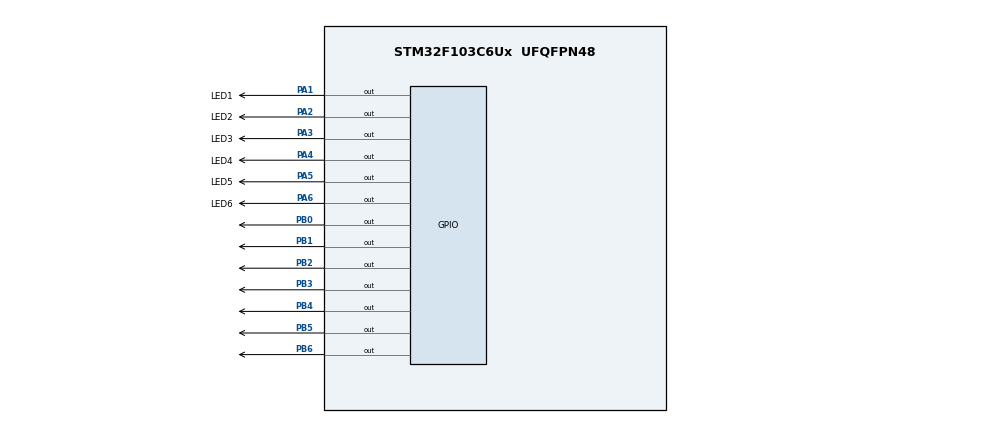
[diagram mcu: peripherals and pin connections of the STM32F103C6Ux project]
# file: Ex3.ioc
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Mcu.Family=STM32F1
Mcu.Name=STM32F103C6Ux
Mcu.Package=UFQFPN48
NVIC.PriorityGroup=NVIC_PRIORITYGROUP_4
PA1.GPIO_Label=LED1
PA1.Signal=GPIO_Output
PA2.GPIO_Label=LED2
PA2.Signal=GPIO_Output
PA3.GPIO_Label=LED3
PA3.Signal=GPIO_Output
PA4.GPIO_Label=LED4
PA4.Signal=GPIO_Output
PA5.GPIO_Label=LED5
PA5.Signal=GPIO_Output
PA6.GPIO_Label=LED6
PA6.Signal=GPIO_Output
PB0.Signal=GPIO_Output
PB1.Signal=GPIO_Output
PB2.Signal=GPIO_Output
PB3.Signal=GPIO_Output
PB4.Signal=GPIO_Output
PB5.Signal=GPIO_Output
PB6.Signal=GPIO_Output
ProjectManager.HeapSize=0x200
ProjectManager.StackSize=0x400
ProjectManager.TargetToolchain=STM32CubeIDE
RCC.APB1Freq_Value=8000000
RCC.APB2Freq_Value=8000000
VP_SYS_VS_ND.Mode=No_Debug
board=custom

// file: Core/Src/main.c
/* USER CODE BEGIN Header */
/**
  ******************************************************************************
  * @file           : main.c
  * @brief          : Main program body
  ******************************************************************************
  * @attention
  *
  * <h2><center>&copy; Copyright (c) 2022 STMicroelectronics.
  * All rights reserved.</center></h2>
  *
  * This software component is licensed by ST under BSD 3-Clause license,
  * the "License"; You may not use this file except in compliance with the
  * License. You may obtain a copy of the License at:
  *                        opensource.org/licenses/BSD-3-Clause
  *
  ******************************************************************************
  */
/* USER CODE END Header */
#include "main.h"

void SystemClock_Config(void);
static void MX_GPIO_Init(void);

/* USER CODE BEGIN 0 */
void display7SEG(int num){
	if(num == 1){
		HAL_GPIO_WritePin(GPIOB, 0x06, GPIO_PIN_RESET);
		HAL_GPIO_WritePin(GPIOB, 0x79, GPIO_PIN_SET);
	}
	else if(num == 2){
		HAL_GPIO_WritePin(GPIOB, 0x5B, GPIO_PIN_RESET);
		HAL_GPIO_WritePin(GPIOB, 0x24, GPIO_PIN_SET);
	}
	else if(num == 3){
		HAL_GPIO_WritePin(GPIOB, 0x4F, GPIO_PIN_RESET);
		HAL_GPIO_WritePin(GPIOB, 0x30, GPIO_PIN_SET);
	}
	else if(num == 4){
		HAL_GPIO_WritePin(GPIOB, 0x66, GPIO_PIN_RESET);
		HAL_GPIO_WritePin(GPIOB, 0x19, GPIO_PIN_SET);
	}
	else if(num == 5){
		HAL_GPIO_WritePin(GPIOB, 0x6D, GPIO_PIN_RESET);
		HAL_GPIO_WritePin(GPIOB, 0x12, GPIO_PIN_SET);
	}
	else if(num == 6){
		HAL_GPIO_WritePin(GPIOB, 0x7D, GPIO_PIN_RESET);
		HAL_GPIO_WritePin(GPIOB, 0x02, GPIO_PIN_SET);
	}
	else if(num == 7){
		HAL_GPIO_WritePin(GPIOB, 0x07, GPIO_PIN_RESET);
		HAL_GPIO_WritePin(GPIOB, 0x78, GPIO_PIN_SET);
	}
	else if(num == 8){
		HAL_GPIO_WritePin(GPIOB, 0x7F, GPIO_PIN_RESET);
		HAL_GPIO_WritePin(GPIOB, 0x00, GPIO_PIN_SET);
	}
	else if(num == 9){
		HAL_GPIO_WritePin(GPIOB, 0x6F, GPIO_PIN_RESET);
		HAL_GPIO_WritePin(GPIOB, 0x10, GPIO_PIN_SET);
	}
	else{
		HAL_GPIO_WritePin(GPIOB, 0x3F, GPIO_PIN_RESET);
		HAL_GPIO_WritePin(GPIOB, 0x40, GPIO_PIN_SET);
	}

}

/* USER CODE END 0 */

int main(void)
{

  /* MCU Configuration--------------------------------------------------------*/

  /* Reset of all peripherals, Initializes the Flash interface and the Systick. */
  HAL_Init();

  /* Configure the system clock */
  SystemClock_Config();

  /* Initialize all configured peripherals */
  MX_GPIO_Init();

  /* Infinite loop */
  /* USER CODE BEGIN WHILE */
 int count = 0;
 int state = 0;
 int counter = 3;
  while (1)
  {
	  display7SEG (counter) ;
	  //Den xanh ngang 3s (state = 0)
	  if(state == 0){
		  HAL_GPIO_WritePin(LED1_GPIO_Port, LED1_Pin, GPIO_PIN_SET);
		  HAL_GPIO_WritePin(LED2_GPIO_Port, LED2_Pin, GPIO_PIN_RESET);
		  HAL_GPIO_WritePin(LED3_GPIO_Port, LED3_Pin, GPIO_PIN_RESET);

		  HAL_GPIO_WritePin(LED4_GPIO_Port, LED4_Pin, GPIO_PIN_RESET);
		  HAL_GPIO_WritePin(LED5_GPIO_Port, LED5_Pin, GPIO_PIN_RESET);
		  HAL_GPIO_WritePin(LED6_GPIO_Port, LED6_Pin, GPIO_PIN_SET);
		  if(count >= 3) {
			  state = 1;
			  counter = 2;
		  }
	  }
	  //Den vang ngang 2s (state = 1)
	  if(state == 1){
		  display7SEG (counter) ;
		  HAL_GPIO_WritePin(LED1_GPIO_Port, LED1_Pin, GPIO_PIN_RESET);
		  HAL_GPIO_WritePin(LED2_GPIO_Port, LED2_Pin, GPIO_PIN_SET);
		  HAL_GPIO_WritePin(LED3_GPIO_Port, LED3_Pin, GPIO_PIN_RESET);
		  if(count >= 5) {
			  state = 2;
			  counter = 5;
		  }
	  }
	  //Den xanh doc 3s (state = 2)
	  if(state == 2){
		  display7SEG (counter) ;
		  HAL_GPIO_WritePin(LED1_GPIO_Port, LED1_Pin, GPIO_PIN_RESET);
		  HAL_GPIO_WritePin(LED2_GPIO_Port, LED2_Pin, GPIO_PIN_RESET);
		  HAL_GPIO_WritePin(LED3_GPIO_Port, LED3_Pin, GPIO_PIN_SET);

		  HAL_GPIO_WritePin(LED4_GPIO_Port, LED4_Pin, GPIO_PIN_SET);
		  HAL_GPIO_WritePin(LED5_GPIO_Port, LED5_Pin, GPIO_PIN_RESET);
		  HAL_GPIO_WritePin(LED6_GPIO_Port, LED6_Pin, GPIO_PIN_RESET);
		  if(count >= 8) {
			  state = 3;
		  }
	  }
	  //Den vang doc 2s (state = 3)
	  if(state == 3){
		  display7SEG (counter) ;
		  HAL_GPIO_WritePin(LED4_GPIO_Port, LED4_Pin, GPIO_PIN_RESET);
		  HAL_GPIO_WritePin(LED5_GPIO_Port, LED5_Pin, GPIO_PIN_SET);
		  HAL_GPIO_WritePin(LED6_GPIO_Port, LED6_Pin, GPIO_PIN_RESET);
		  if(count >= 9) {
			  state = 0;
			  count = -1;
			  counter = 4;
		  }
	  }
	  count++;
	  counter--;
	  HAL_Delay(1000);
    /* USER CODE END WHILE */

  }
}

void SystemClock_Config(void)
{
  RCC_OscInitTypeDef RCC_OscInitStruct = {0};
  RCC_ClkInitTypeDef RCC_ClkInitStruct = {0};

  /** Initializes the RCC Oscillators according to the specified parameters
  * in the RCC_OscInitTypeDef structure.
  */
  RCC_OscInitStruct.OscillatorType = RCC_OSCILLATORTYPE_HSI;
  RCC_OscInitStruct.HSIState = RCC_HSI_ON;
  RCC_OscInitStruct.HSICalibrationValue = RCC_HSICALIBRATION_DEFAULT;
  RCC_OscInitStruct.PLL.PLLState = RCC_PLL_NONE;
  if (HAL_RCC_OscConfig(&RCC_OscInitStruct) != HAL_OK)
  {
    Error_Handler();
  }
  /** Initializes the CPU, AHB and APB buses clocks
  */
  RCC_ClkInitStruct.ClockType = RCC_CLOCKTYPE_HCLK|RCC_CLOCKTYPE_SYSCLK
                              |RCC_CLOCKTYPE_PCLK1|RCC_CLOCKTYPE_PCLK2;
  RCC_ClkInitStruct.SYSCLKSource = RCC_SYSCLKSOURCE_HSI;
  RCC_ClkInitStruct.AHBCLKDivider = RCC_SYSCLK_DIV1;
  RCC_ClkInitStruct.APB1CLKDivider = RCC_HCLK_DIV1;
  RCC_ClkInitStruct.APB2CLKDivider = RCC_HCLK_DIV1;

  if (HAL_RCC_ClockConfig(&RCC_ClkInitStruct, FLASH_LATENCY_0) != HAL_OK)
  {
    Error_Handler();
  }
}

static void MX_GPIO_Init(void)
{
  GPIO_InitTypeDef GPIO_InitStruct = {0};

  /* GPIO Ports Clock Enable */
  __HAL_RCC_GPIOA_CLK_ENABLE();
  __HAL_RCC_GPIOB_CLK_ENABLE();

  /*Configure GPIO pin Output Level */
  HAL_GPIO_WritePin(GPIOA, LED1_Pin|LED2_Pin|LED3_Pin|LED4_Pin
                          |LED5_Pin|LED6_Pin, GPIO_PIN_RESET);

  /*Configure GPIO pin Output Level */
  HAL_GPIO_WritePin(GPIOB, GPIO_PIN_0|GPIO_PIN_1|GPIO_PIN_2|GPIO_PIN_3
                          |GPIO_PIN_4|GPIO_PIN_5|GPIO_PIN_6, GPIO_PIN_RESET);

  /*Configure GPIO pins : LED1_Pin LED2_Pin LED3_Pin LED4_Pin
                           LED5_Pin LED6_Pin */
  GPIO_InitStruct.Pin = LED1_Pin|LED2_Pin|LED3_Pin|LED4_Pin
                          |LED5_Pin|LED6_Pin;
  GPIO_InitStruct.Mode = GPIO_MODE_OUTPUT_PP;
  GPIO_InitStruct.Pull = GPIO_NOPULL;
  GPIO_InitStruct.Speed = GPIO_SPEED_FREQ_LOW;
  HAL_GPIO_Init(GPIOA, &GPIO_InitStruct);

  /*Configure GPIO pins : PB0 PB1 PB2 PB3
                           PB4 PB5 PB6 */
  GPIO_InitStruct.Pin = GPIO_PIN_0|GPIO_PIN_1|GPIO_PIN_2|GPIO_PIN_3
                          |GPIO_PIN_4|GPIO_PIN_5|GPIO_PIN_6;
  GPIO_InitStruct.Mode = GPIO_MODE_OUTPUT_PP;
  GPIO_InitStruct.Pull = GPIO_NOPULL;
  GPIO_InitStruct.Speed = GPIO_SPEED_FREQ_LOW;
  HAL_GPIO_Init(GPIOB, &GPIO_InitStruct);

}

void Error_Handler(void)
{
  __disable_irq();
  while (1)
  {
  }
}

/************************ (C) COPYRIGHT STMicroelectronics *****END OF FILE****/
